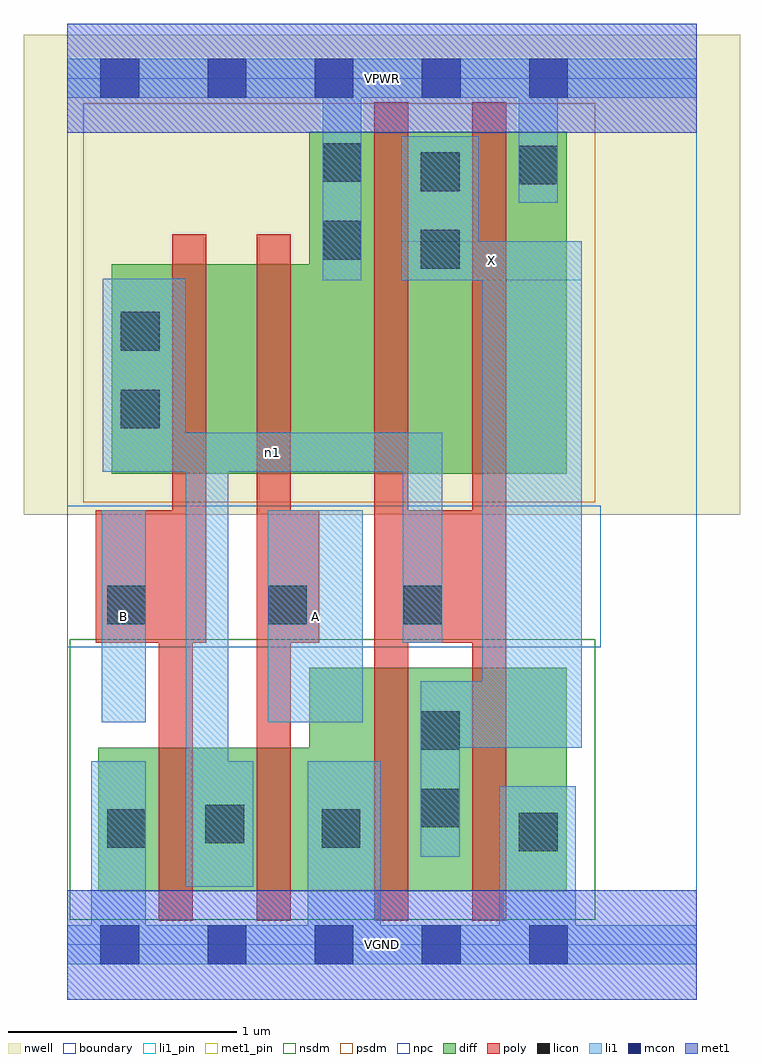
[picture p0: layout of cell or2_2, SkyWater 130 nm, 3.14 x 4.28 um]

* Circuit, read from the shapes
.subckt or2_2 A B VGND VPWR X n1
XM1 n1 B VGND VSUBS sky130_fd_pr__nfet_01v8 w=0.63 l=0.15
XM2 VGND A n1 VSUBS sky130_fd_pr__nfet_01v8 w=0.63 l=0.15
XM3 X n1 VGND VSUBS sky130_fd_pr__nfet_01v8 w=0.98 l=0.15 m=2
XM4 n2 B n1 n3 sky130_fd_pr__pfet_01v8 w=0.92 l=0.15
XM5 VPWR A n2 n3 sky130_fd_pr__pfet_01v8 w=0.92 l=0.15
XM6 X n1 VPWR n3 sky130_fd_pr__pfet_01v8 w=1.5 l=0.15 m=2
.ends

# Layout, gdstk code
import gdstk
lib = gdstk.Library(unit=1e-6, precision=1e-09)
def R(c, l, rs):  # rectangles x0, y0, x1, y1
    for r in rs: c.add(gdstk.rectangle(r[:2], r[2:], *l))
def A(c, l, x, y, w, h, nx, ny, dx, dy):  # array of equal rectangles
    R(c, l, [(x+i*dx, y+j*dy, x+i*dx+w, y+j*dy+h) for i in range(nx) for j in range(ny)])
nwell = (64, 20)
diff = (65, 20)
poly = (66, 20)
licon = (66, 44)
li1_pin = (67, 16)
li1 = (67, 20)
mcon = (67, 44)
met1_pin = (68, 16)
met1 = (68, 20)
nsdm = (93, 44)
psdm = (94, 20)
npc = (95, 20)
boundary = (235, 4)

or2_2 = lib.new_cell('or2_2')
R(or2_2, nwell, [(-0.19,1.885,2.95,3.99), (0,1.885,2.76,3.99)])
R(or2_2, diff, [(0.135,0.235,2.19,0.865), (1.06,0.235,2.19,1.215), (0.195,2.065,2.19,2.985), (1.06,2.065,2.19,3.565)])
R(or2_2, poly, [(0.4,0.105,0.55,1.905), (0.83,0.105,0.98,3.115), (1.345,0.105,1.495,3.695), (1.775,0.105,1.925,3.695), (0.125,1.325,0.61,1.905), (0.46,1.325,0.61,3.115), (0.83,1.325,1.105,1.905), (1.345,1.325,1.925,1.905)])
R(or2_2, licon, [(1.98,0.41,2.15,0.58), (0.175,0.425,0.345,0.595), (1.115,0.425,1.285,0.595), (0.605,0.445,0.775,0.615), (1.55,0.515,1.72,0.685), (1.55,0.855,1.72,1.025), (0.175,1.405,0.345,1.575), (0.88,1.405,1.05,1.575), (1.475,1.405,1.645,1.575), (0.235,2.265,0.405,2.435), (0.235,2.605,0.405,2.775), (1.55,2.965,1.72,3.135), (1.12,3.005,1.29,3.175), (1.55,3.305,1.72,3.475), (1.98,3.335,2.15,3.505), (1.12,3.345,1.29,3.515)])
R(or2_2, li1_pin, [(0.15,0.975,0.345,1.905), (0.88,0.975,1.295,1.905), (1.465,2.915,2.255,3.085)])
R(or2_2, li1, [(0,-0.085,2.76,0.085), (0.105,-0.085,0.345,0.805), (1.055,-0.085,1.375,0.805), (1.895,-0.085,2.23,0.695), (0.52,0.255,0.705,2.245), (0.52,0.255,0.815,0.805), (1.55,0.385,1.72,1.155), (1.55,0.865,2.255,1.155), (1.82,0.865,2.255,3.085), (0.15,0.975,0.345,1.905), (0.88,0.975,1.295,1.905), (1.47,1.325,1.645,2.245), (0.155,2.075,1.645,2.245), (0.155,2.075,0.52,2.92), (1.12,2.915,1.29,3.885), (1.465,2.915,1.805,3.545), (1.465,2.915,2.255,3.085), (1.98,3.255,2.15,3.885), (0,3.715,2.76,3.885)])
A(or2_2, mcon, 0.145, -0.085, 0.17, 0.17, 5, 2, 0.47, 3.8)
R(or2_2, met1_pin, [(0,-0.24,2.76,0.24), (0,3.56,2.76,4.04)])
R(or2_2, met1, [(0,-0.24,2.76,0.24), (0,3.56,2.76,4.04)])
R(or2_2, nsdm, [(0.01,0.11,2.315,1.34)])
R(or2_2, psdm, [(0.07,1.94,2.315,3.69)])
R(or2_2, npc, [(0,1.305,2.34,1.925)])
R(or2_2, boundary, [(0,0,2.76,3.8)])
or2_2.add(gdstk.Label('A', (1.087,1.44), layer=67, texttype=5))
or2_2.add(gdstk.Label('B', (0.247,1.44), layer=67, texttype=5))
or2_2.add(gdstk.Label('X', (1.86,3), layer=67, texttype=5))
or2_2.add(gdstk.Label('n1', (0.9,2.16), layer=67, texttype=5))
or2_2.add(gdstk.Label('VPWR', (1.38,3.8), layer=68, texttype=5))
or2_2.add(gdstk.Label('VGND', (1.38,0), layer=68, texttype=5))
or2_2.add(gdstk.Label('A', (1.087,1.44), layer=67, texttype=16))
or2_2.add(gdstk.Label('B', (0.247,1.44), layer=67, texttype=16))
or2_2.add(gdstk.Label('X', (1.86,3), layer=67, texttype=16))
or2_2.add(gdstk.Label('VPWR', (1.38,3.8), layer=68, texttype=16))
or2_2.add(gdstk.Label('VGND', (1.38,0), layer=68, texttype=16))

lib.write_gds('or2_2.gds')
